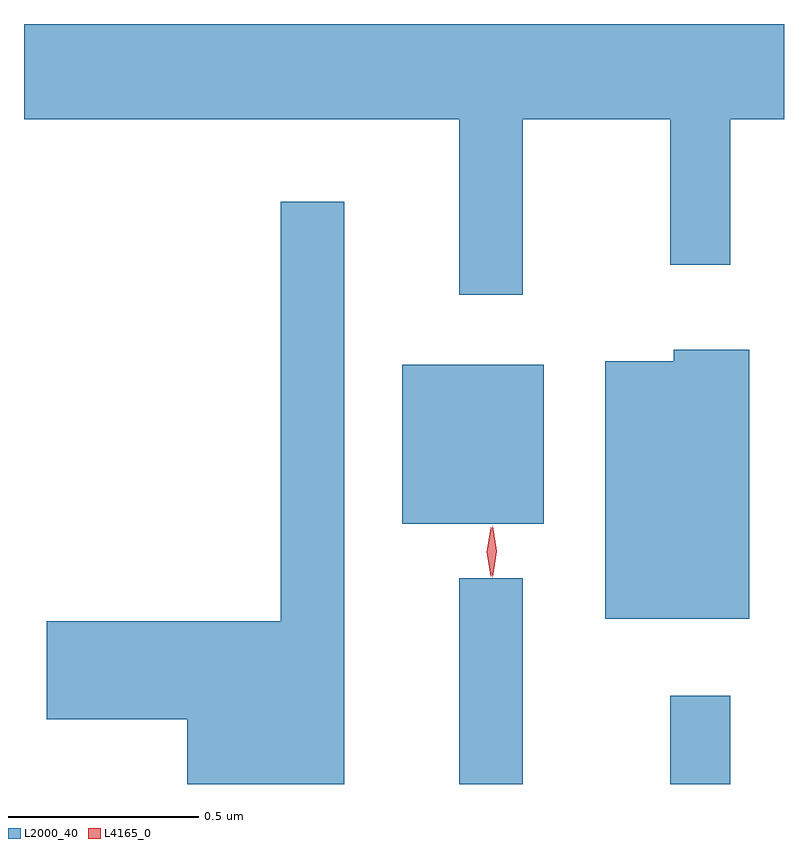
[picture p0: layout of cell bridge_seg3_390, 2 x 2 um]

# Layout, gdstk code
import gdstk
lib = gdstk.Library(unit=1e-6, precision=1e-09)
def R(c, l, rs):  # rectangles x0, y0, x1, y1
    for r in rs: c.add(gdstk.rectangle(r[:2], r[2:], *l))
def P(c, l, *ps):  # polygons
    for p in ps: c.add(gdstk.Polygon(p, *l))
L2000_40 = (2000, 40)
L4165_0 = (4165, 0)

bridge_seg3_390 = lib.new_cell('bridge_seg3_390')
R(bridge_seg3_390, L2000_40, [(564.551,1213.066,564.719,1213.608), (565.106,1213.066,565.264,1213.298), (564.401,1213.751,564.774,1214.169)])
P(bridge_seg3_390, L2000_40, [(564.719,1214.816),(565.106,1214.816),(565.106,1214.433),(565.264,1214.433),(565.264,1214.816),(565.406,1214.816),(565.406,1215.066),(563.406,1215.066),(563.406,1214.816),(564.551,1214.816),(564.551,1214.353),(564.719,1214.353)],
  [(564.249,1214.598),(564.081,1214.598),(564.081,1213.494),(563.466,1213.494),(563.466,1213.236),(563.836,1213.236),(563.836,1213.066),(564.249,1213.066)],
  [(565.314,1214.209),(565.116,1214.209),(565.116,1214.179),(564.936,1214.179),(564.936,1213.501),(565.314,1213.501)])
P(bridge_seg3_390, L4165_0, [(564.634,1213.613),(564.634,1213.613),(564.624,1213.677),(564.634,1213.741),(564.634,1213.742),(564.635,1213.741),(564.644,1213.677),(564.635,1213.613)],
  [(564.639,1213.61),(564.63,1213.678),(564.639,1213.746),(564.64,1213.746),(564.64,1213.746),(564.65,1213.678),(564.64,1213.61),(564.64,1213.61)])

lib.write_gds('bridge_seg3_390.gds')
